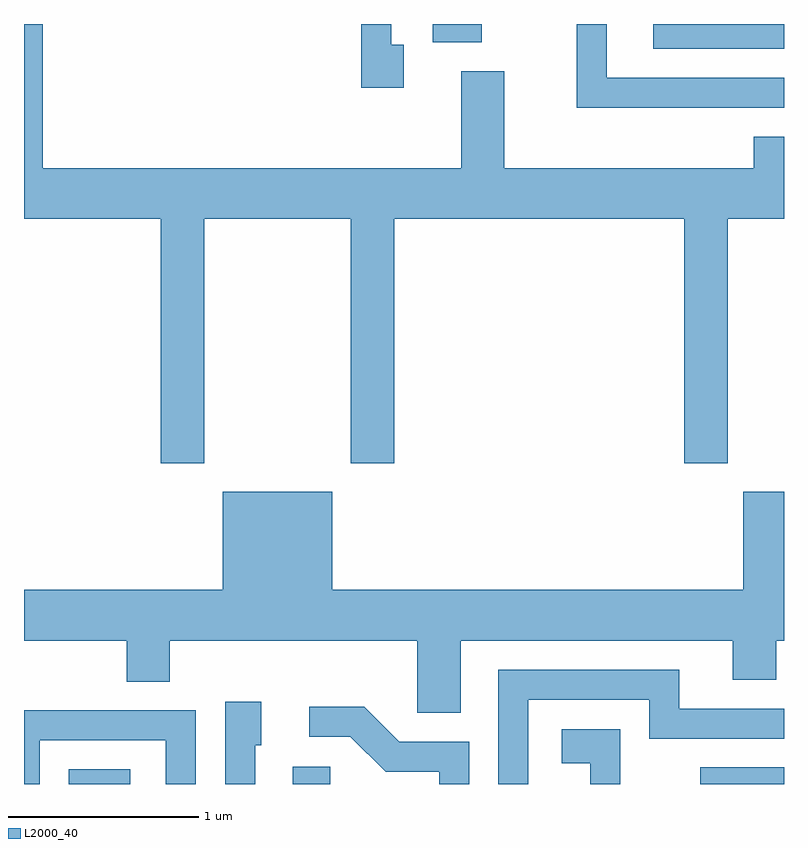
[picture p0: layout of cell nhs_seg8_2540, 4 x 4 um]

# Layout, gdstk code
import gdstk
lib = gdstk.Library(unit=1e-6, precision=1e-09)
def R(c, l, rs):  # rectangles x0, y0, x1, y1
    for r in rs: c.add(gdstk.rectangle(r[:2], r[2:], *l))
def P(c, l, *ps):  # polygons
    for p in ps: c.add(gdstk.Polygon(p, *l))
L2000_40 = (2000, 40)

nhs_seg8_2540 = lib.new_cell('nhs_seg8_2540')
R(nhs_seg8_2540, L2000_40, [(261.846,1822.342,262.169,1822.419), (263.026,1822.342,263.224,1822.434), (265.171,1822.342,265.611,1822.429), (264.923,1826.211,265.611,1826.342), (263.761,1826.246,264.019,1826.342)])
P(nhs_seg8_2540, L2000_40, [(263.609,1826.234),(263.544,1826.234),(263.544,1826.342),(263.386,1826.342),(263.386,1826.006),(263.609,1826.006)],
  [(265.611,1826.059),(264.679,1826.059),(264.679,1826.342),(264.521,1826.342),(264.521,1825.901),(265.611,1825.901)],
  [(262.559,1825.316),(263.331,1825.316),(263.331,1824.031),(263.559,1824.031),(263.559,1825.316),(265.086,1825.316),(265.086,1824.031),(265.314,1824.031),(265.314,1825.316),(265.611,1825.316),(265.611,1825.749),(265.451,1825.749),(265.451,1825.584),(264.139,1825.584),(264.139,1826.094),(263.911,1826.094),(263.911,1825.584),(261.709,1825.584),(261.709,1826.342),(261.611,1826.342),(261.611,1825.316),(262.331,1825.316),(262.331,1824.031),(262.559,1824.031)],
  [(263.909,1823.096),(265.341,1823.096),(265.341,1822.891),(265.569,1822.891),(265.569,1823.096),(265.611,1823.096),(265.611,1823.879),(265.396,1823.879),(265.396,1823.364),(263.234,1823.364),(263.234,1823.879),(262.656,1823.879),(262.656,1823.364),(261.611,1823.364),(261.611,1823.096),(262.151,1823.096),(262.151,1822.881),(262.379,1822.881),(262.379,1823.096),(263.681,1823.096),(263.681,1822.716),(263.909,1822.716)],
  [(264.264,1822.786),(264.901,1822.786),(264.901,1822.581),(265.611,1822.581),(265.611,1822.739),(265.059,1822.739),(265.059,1822.944),(264.106,1822.944),(264.106,1822.342),(264.264,1822.342)],
  [(262.829,1822.546),(262.859,1822.546),(262.859,1822.774),(262.671,1822.774),(262.671,1822.342),(262.829,1822.342)],
  [(263.954,1822.564),(263.587,1822.564),(263.402,1822.749),(263.113,1822.749),(263.113,1822.591),(263.329,1822.591),(263.514,1822.406),(263.796,1822.406),(263.796,1822.342),(263.954,1822.342)],
  [(261.694,1822.571),(262.356,1822.571),(262.356,1822.342),(262.514,1822.342),(262.514,1822.729),(261.611,1822.729),(261.611,1822.342),(261.694,1822.342)],
  [(264.749,1822.629),(264.441,1822.629),(264.441,1822.451),(264.591,1822.451),(264.591,1822.342),(264.749,1822.342)])

lib.write_gds('nhs_seg8_2540.gds')
